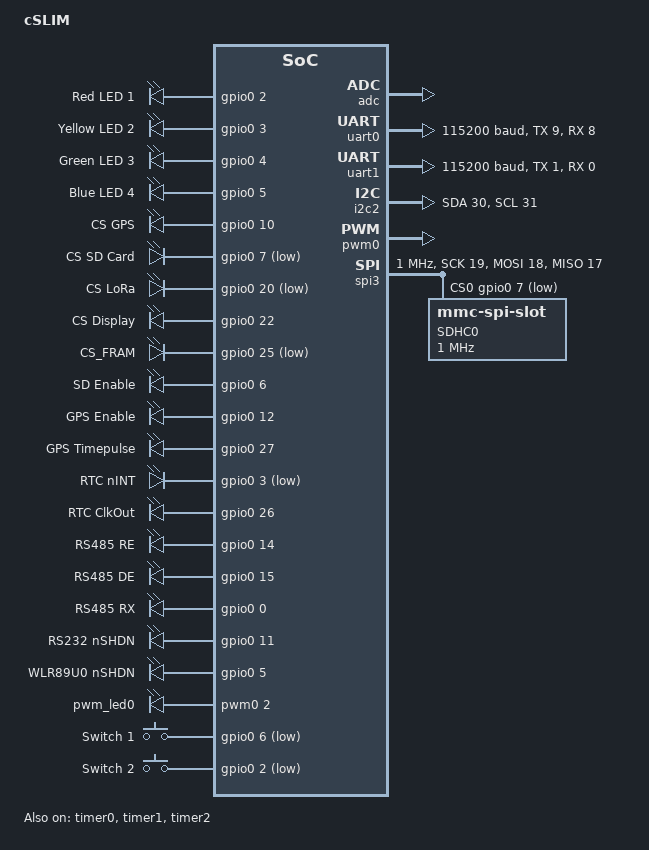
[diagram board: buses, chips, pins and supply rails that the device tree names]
/*
 * Copyright (c) 2018-2020 Nordic Semiconductor ASA
 *
 * SPDX-License-Identifier: Apache-2.0
 */

/ {
	model = "cSLIM";
	compatible = "nordic,cSLIM";

	chosen {
		zephyr,console = &uart0;
		zephyr,shell-uart = &uart0;
		zephyr,uart-mcumgr = &uart0;
	};

	leds {
		compatible = "gpio-leds";
		led0: led_0 {
			gpios = <&gpio0 2 0>;
			label = "Red LED 1";
		};
		led1: led_1 {
			gpios = <&gpio0 3 0>;
			label = "Yellow LED 2";
		};
		led2: led_2 {
			gpios = <&gpio0 4 0>;
			label = "Green LED 3";
		};
		led3: led_3 {
			gpios = <&gpio0 5 0>;
			label = "Blue LED 4";
		};
	};

	chipselect {
		compatible = "gpio-leds";
		cs0: cs_gps {
			gpios = <&gpio0 10 0>;
			label = "CS GPS";
		};
		cs1: cs_sd {
			gpios = <&gpio0 7 (GPIO_ACTIVE_LOW)>;
			label = "CS SD Card";
		};
		cs2: cs_lora {
			gpios = <&gpio0 20 (GPIO_ACTIVE_LOW)>;
			label = "CS LoRa";
		};
		cs3: cs_display {
			gpios = <&gpio0 22 (GPIO_ACTIVE_HIGH)>;
			label = "CS Display";
		};
		cs4: cs_fram {
			gpios = <&gpio0 25 (GPIO_ACTIVE_LOW)>;
			label = "CS_FRAM";
		};
	};

	sd_gpio {
		compatible = "gpio-leds";
			sdenable: sd_enable {
				gpios = <&gpio0 6 0>;
				label = "SD Enable";
			};
	};

	gps_gpio {
		compatible = "gpio-leds";
			gpsenable: gps_enable {
				gpios = <&gpio0 12 0>;
				label = "GPS Enable";
			};
			gpstimepulse: gps_timepulse {
				gpios = <&gpio0 27 (GPIO_PULL_UP | GPIO_ACTIVE_HIGH)>;
				label = "GPS Timepulse";
			};
	};

	rtc_gpio {
		compatible = "gpio-leds";
			rtcnint: rtc_nint {
				gpios = <&gpio0 3 (GPIO_PULL_UP | GPIO_ACTIVE_LOW)>;
				label = "RTC nINT";
			};
			rtcclkout: rtc_clkout {
				gpios = <&gpio0 26 (GPIO_PULL_UP | GPIO_ACTIVE_HIGH)>;
				label = "RTC ClkOut";
			};
	};

	rs485_gpio {
		compatible = "gpio-leds";
			rs485re: rs485_re {
				gpios = <&gpio0 14 0>;
				label = "RS485 RE";
			};
			rs485de: rs485_de {
				gpios = <&gpio0 15 0>;
				label = "RS485 DE";
			};
			rs485rx: rs485_rx {
				gpios = <&gpio0 0 GPIO_PULL_UP>;
				label = "RS485 RX";
			};
	};

	rs232_gpio {
		compatible = "gpio-leds";
			rs232nshdn: rs232_nshdn {
				gpios = <&gpio0 11 0>;
				label = "RS232 nSHDN";
			};
	};

	wlr089u0_gpio {
		compatible = "gpio-leds";
		wlr089u0nen: wlr089u0_nen {
				gpios = <&gpio0 5 0>;
				label = "WLR89U0 nSHDN";
			};
	};

	pwmleds {
		compatible = "pwm-leds";
		pwm_led0: pwm_led_0 {
			pwms = <&pwm0 2>;
		};
	};

	buttons {
		compatible = "gpio-keys";
		button0: button_0 {
			gpios = <&gpio0 6 (GPIO_PULL_UP | GPIO_ACTIVE_LOW)>;
			label = "Switch 1";
		};
		button1: button_1 {
			gpios = <&gpio0 2 (GPIO_PULL_UP | GPIO_ACTIVE_LOW)>;
			label = "Switch 2";
		};

	};

	/* These aliases are provided for compatibility with samples */
	aliases {
		led0 = &led0;
		led1 = &led1;
		led2 = &led2;
		led3 = &led3;
		pwm-led0 = &pwm_led0;
		sw0 = &button0;
		sw1 = &button1;
		//sw2 = &button0;
		//sw3 = &button1;
		cs0 = &cs0;
		cs1 = &cs1;
		cs2 = &cs2;
		cs3 = &cs3;
		cs4 = &cs4;
		adcctrl = &adc;
		uart0 = &uart0;
		uart1 = &uart1;
		uart2 = &uart2;
		rs485re = &rs485re;
		rs485de = &rs485de;
		sdenable = &sdenable;
		gpstimepulse = &gpstimepulse;
		gpsenable = &gpsenable;
		rtcclkout = &rtcclkout;
		rtcnint = &rtcnint;
		rs232nshdn = &rs232nshdn;
		wlr089u0nen = &wlr089u0nen;
		i2c2 = &i2c2;
		timer2 = &timer2;
	};
};

&adc {
	status = "okay";
};

&gpiote {
	status = "okay";
};

&gpio0 {
	status = "okay";
};

&uart0 {
	status = "okay";
	current-speed = <115200>;
	tx-pin = <9>;
	rx-pin = <8>;
    /delete-property/ rts-pin;
    /delete-property/ cts-pin;
};

&uart1 {
	status = "okay";
	current-speed = <115200>;
	tx-pin = <1>;
	rx-pin = <0>;
};

&uart2 {
	status = "disabled";
	current-speed = <115200>;
	tx-pin = <24>;
	rx-pin = <23>;
};

&i2c2 {
	compatible = "nordic,nrf-twim";
	status = "okay";
	sda-pin = <30>;
	scl-pin = <31>;
};

&pwm0 {
	status = "okay";
	ch0-pin = <2>;
};

&spi3 {
	compatible = "nordic,nrf-spim";
	status = "okay";
	sck-pin = <19>;
	mosi-pin = <18>;
	miso-pin = <17>;
	clock-frequency = <1000000>;
	cs-gpios = <&gpio0 7 GPIO_ACTIVE_LOW>, <&gpio0 25 GPIO_ACTIVE_LOW>; 
	sdhc0: sdhc@0 {
		compatible = "zephyr,mmc-spi-slot";
		reg = <0>;
		status = "okay";
		label = "SDHC0";
		spi-max-frequency = <1000000>;
	};
};

&timer0 {
	status = "okay";
};

&timer1 {
	status = "okay";
};

&timer2 {
	status = "okay";
};


&flash0 {
	/*
	 * For more information, see:
	 * https://docs.zephyrproject.org/latest/guides/dts/legacy-macros.html#legacy-flash-partitions
	 */
	partitions {
		compatible = "fixed-partitions";
		#address-cells = <1>;
		#size-cells = <1>;

		boot_partition: partition@0 {
			label = "mcuboot";
			reg = <0x00000000 0x10000>;
		};
		slot0_partition: partition@10000 {
			label = "image-0";
		};
		slot0_ns_partition: partition@50000 {
			label = "image-0-nonsecure";
		};
		slot1_partition: partition@80000 {
			label = "image-1";
		};
		slot1_ns_partition: partition@c0000 {
			label = "image-1-nonsecure";
		};
		scratch_partition: partition@f0000 {
			label = "image-scratch";
			reg = <0x000f0000 0xa000>;
		};
		storage_partition: partition@fa000 {
			label = "storage";
			reg = <0x000fa000 0x00006000>;
		};
	};
};

/ {

	reserved-memory {
		#address-cells = <1>;
		#size-cells = <1>;
		ranges;

		sram0_s: image_s@20000000 {
			/* Secure image memory */
		};

		sram0_bsd: image_bsd@20010000 {
			/* BSD (shared) memory */
		};

		sram0_ns: image_ns@20020000 {
			/* Non-Secure image memory */
		};
	};
};

/* Include partition configuration file */
#include "cSLIM_partition_conf.dts"
